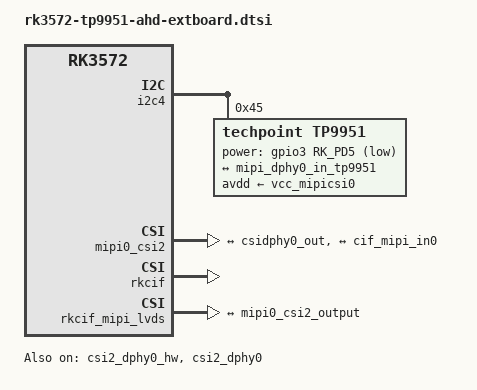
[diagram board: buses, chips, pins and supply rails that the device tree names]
// SPDX-License-Identifier: (GPL-2.0+ OR MIT)
/*
 * Copyright (c) 2026 Rockchip Electronics Co., Ltd.
 *
 * RK3572 + Techpoint TP9951 AHD-to-MIPI bridge extboard.
 *
 * TP9951 (i2c4@0x45, 2-lane) -> csi2_dphy0 -> mipi0_csi2
 *   -> rkcif_mipi_lvds (raw CIF, ISP/VPSS disabled).
 */

&csi2_dphy0_hw {
	status = "okay";
};

&csi2_dphy0 {
	status = "okay";

	ports {
		#address-cells = <1>;
		#size-cells = <0>;

		port@0 {
			reg = <0>;
			#address-cells = <1>;
			#size-cells = <0>;

			mipi_dphy0_in_tp9951: endpoint@1 {
				reg = <1>;
				remote-endpoint = <&tp9951_out>;
				data-lanes = <1 2>;
			};
		};

		port@1 {
			reg = <1>;
			#address-cells = <1>;
			#size-cells = <0>;

			csidphy0_out: endpoint@0 {
				reg = <0>;
				remote-endpoint = <&mipi0_csi2_input>;
			};
		};
	};
};

&i2c4 {
	status = "okay";
	pinctrl-names = "default";
	pinctrl-0 = <&i2c4m3_xfer_pins>, <&cam_clk0m0_clk0_pins>;

	tp9951: tp9951@45 {
		compatible = "techpoint,tp9951";
		status = "okay";
		reg = <0x45>;
		clocks = <&cru CAM_CLK0_OUT_IOUT>;
		clock-names = "xvclk";
		power-domains = <&power RK3572_PD_VI>;
		power-gpios = <&gpio3 RK_PD5 GPIO_ACTIVE_LOW>;
		avdd-supply = <&vcc_mipicsi0>;
		rockchip,camera-module-index = <0>;
		rockchip,camera-module-facing = "back";
		rockchip,camera-module-name = "tp9951";
		rockchip,camera-module-lens-name = "tp9951";

		port {
			tp9951_out: endpoint {
				remote-endpoint = <&mipi_dphy0_in_tp9951>;
				data-lanes = <1 2>;
			};
		};
	};
};

&mipi0_csi2 {
	status = "okay";

	ports {
		#address-cells = <1>;
		#size-cells = <0>;

		port@0 {
			reg = <0>;
			#address-cells = <1>;
			#size-cells = <0>;

			mipi0_csi2_input: endpoint@1 {
				reg = <1>;
				remote-endpoint = <&csidphy0_out>;
			};
		};

		port@1 {
			reg = <1>;
			#address-cells = <1>;
			#size-cells = <0>;

			mipi0_csi2_output: endpoint@0 {
				reg = <0>;
				remote-endpoint = <&cif_mipi_in0>;
			};
		};
	};
};

&rkcif {
	status = "okay";
};

&rkcif_mipi_lvds {
	status = "okay";

	port {
		cif_mipi_in0: endpoint {
			remote-endpoint = <&mipi0_csi2_output>;
		};
	};
};

&rkcif_mmu {
	status = "okay";
};

&rkcif_mipi_lvds_sditf {
	status = "disabled";
};

&rkisp {
	status = "disabled";
};

&rkisp_mmu {
	status = "disabled";
};

&rkisp_vir0 {
	status = "disabled";
};

&rkisp_vir0_sditf {
	status = "disabled";
};

&rkvpss {
	status = "disabled";
};

&rkvpss_mmu {
	status = "disabled";
};

&rkvpss_vir0 {
	status = "disabled";
};
